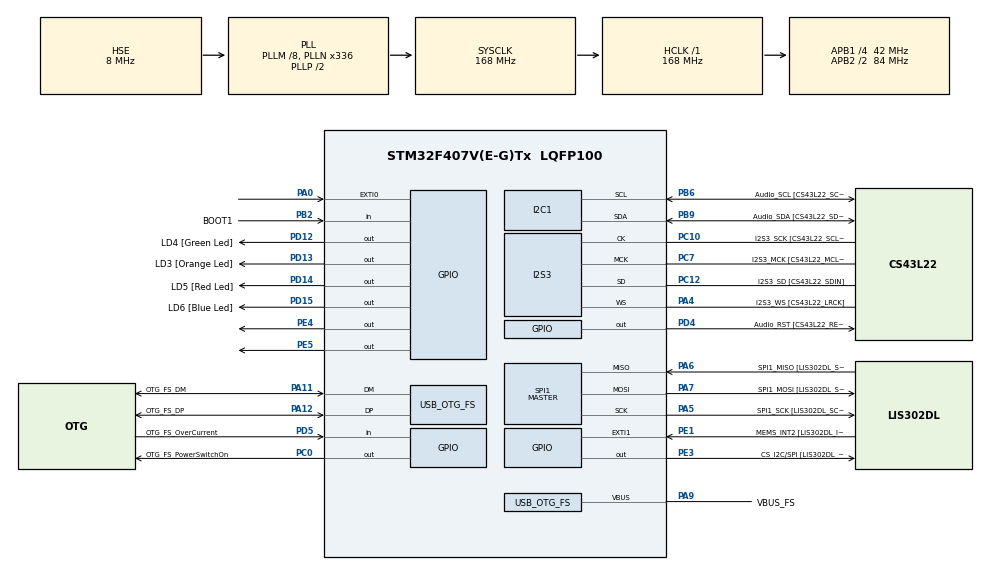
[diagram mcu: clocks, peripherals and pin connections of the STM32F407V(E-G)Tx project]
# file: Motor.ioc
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I2S3.AudioFreq-Half_Duplex_Master=I2S_AUDIOFREQ_96K
I2S3.ErrorAudioFreq=-2.34 %
I2S3.ErrorAudioFreq-Half_Duplex_Master=0.8 %
I2S3.FullDuplexMode=I2S_FULLDUPLEXMODE_DISABLE
I2S3.Instance=SPI$Index
I2S3.RealAudioFreq=93.75 KHz
I2S3.RealAudioFreq-Half_Duplex_Master=96.774 KHz
I2S3.VirtualMode=I2S_MODE_MASTER
Mcu.Family=STM32F4
Mcu.Name=STM32F407V(E-G)Tx
Mcu.Package=LQFP100
NVIC.EXTI0_IRQn=true\:0\:0\:false\:false\:true\:true\:true\:true
NVIC.OTG_FS_IRQn=true\:0\:0\:false\:false\:true\:true\:true\:true
NVIC.PriorityGroup=NVIC_PRIORITYGROUP_0
PA0-WKUP.Signal=GPXTI0
PA10.GPIO_Label=OTG_FS_ID
PA10.GPIO_Mode=GPIO_MODE_AF_PP
PA10.GPIO_PuPd=GPIO_NOPULL
PA10.GPIO_Speed=GPIO_SPEED_FREQ_LOW
PA10.Signal=USB_OTG_FS_ID
PA11.GPIO_Label=OTG_FS_DM
PA11.GPIO_Mode=GPIO_MODE_AF_PP
PA11.GPIO_PuPd=GPIO_NOPULL
PA11.GPIO_Speed=GPIO_SPEED_FREQ_LOW
PA11.Mode=Host_Only
PA11.Signal=USB_OTG_FS_DM
PA12.GPIO_Label=OTG_FS_DP
PA12.GPIO_Mode=GPIO_MODE_AF_PP
PA12.GPIO_PuPd=GPIO_NOPULL
PA12.GPIO_Speed=GPIO_SPEED_FREQ_LOW
PA12.Mode=Host_Only
PA12.Signal=USB_OTG_FS_DP
PA13.GPIO_Label=SWDIO
PA13.Mode=Serial_Wire
PA13.Signal=SYS_JTMS-SWDIO
PA14.GPIO_Label=SWCLK
PA14.Mode=Serial_Wire
PA14.Signal=SYS_JTCK-SWCLK
PA4.GPIO_Label=I2S3_WS [CS43L22_LRCK]
PA4.GPIO_Mode=GPIO_MODE_AF_PP
PA4.GPIO_PuPd=GPIO_NOPULL
PA4.GPIO_Speed=GPIO_SPEED_FREQ_LOW
PA4.Mode=Half_Duplex_Master
PA4.Signal=I2S3_WS
PA5.GPIO_Label=SPI1_SCK [LIS302DL_SCL/SPC]
PA5.GPIO_Mode=GPIO_MODE_AF_PP
PA5.GPIO_PuPd=GPIO_NOPULL
PA5.GPIO_Speed=GPIO_SPEED_FREQ_LOW
PA5.Mode=Full_Duplex_Master
PA5.Signal=SPI1_SCK
PA6.GPIO_Label=SPI1_MISO [LIS302DL_SDO]
PA6.GPIO_Mode=GPIO_MODE_AF_PP
PA6.GPIO_PuPd=GPIO_NOPULL
PA6.GPIO_Speed=GPIO_SPEED_FREQ_LOW
PA6.Mode=Full_Duplex_Master
PA6.Signal=SPI1_MISO
PA7.GPIO_Label=SPI1_MOSI [LIS302DL_SDA/SDI/SDO]
PA7.GPIO_Mode=GPIO_MODE_AF_PP
PA7.GPIO_PuPd=GPIO_NOPULL
PA7.GPIO_Speed=GPIO_SPEED_FREQ_LOW
PA7.Mode=Full_Duplex_Master
PA7.Signal=SPI1_MOSI
PA9.GPIO_Label=VBUS_FS
PA9.GPIO_Mode=GPIO_MODE_INPUT
PA9.GPIO_PuPd=GPIO_NOPULL
PA9.Mode=Activate_VBUS
PA9.Signal=USB_OTG_FS_VBUS
PB10.GPIO_Label=CLK_IN [MP45DT02_CLK]
PB10.GPIO_Mode=GPIO_MODE_AF_PP
PB10.GPIO_PuPd=GPIO_NOPULL
PB10.GPIO_Speed=GPIO_SPEED_FREQ_LOW
PB10.Signal=I2S2_CK
PB2.GPIO_Label=BOOT1
PB2.GPIO_Mode=GPIO_MODE_INPUT
PB2.GPIO_PuPd=GPIO_NOPULL
PB2.Signal=GPIO_Input
PB3.GPIO_Label=SWO
PB3.Signal=SYS_JTDO-SWO
PB6.GPIO_Label=Audio_SCL [CS43L22_SCL]
PB6.GPIO_Mode=GPIO_MODE_AF_OD
PB6.GPIO_Pu=GPIO_PULLUP
PB6.GPIO_PuPd=GPIO_NOPULL
PB6.GPIO_Speed=GPIO_SPEED_FREQ_LOW
PB6.Mode=I2C
PB6.Signal=I2C1_SCL
PB9.GPIO_Label=Audio_SDA [CS43L22_SDA]
PB9.GPIO_Mode=GPIO_MODE_AF_OD
PB9.GPIO_Pu=GPIO_PULLUP
PB9.GPIO_PuPd=GPIO_NOPULL
PB9.GPIO_Speed=GPIO_SPEED_FREQ_LOW
PB9.Mode=I2C
PB9.Signal=I2C1_SDA
PC0.GPIO_Label=OTG_FS_PowerSwitchOn
PC0.GPIO_PuPd=GPIO_NOPULL
PC0.GPIO_Speed=GPIO_SPEED_FREQ_LOW
PC0.PinState=GPIO_PIN_SET
PC0.Signal=GPIO_Output
PC10.GPIO_Label=I2S3_SCK [CS43L22_SCLK]
PC10.GPIO_Mode=GPIO_MODE_AF_PP
PC10.GPIO_PuPd=GPIO_NOPULL
PC10.GPIO_Speed=GPIO_SPEED_FREQ_LOW
PC10.Mode=Half_Duplex_Master
PC10.Signal=I2S3_CK
PC12.GPIO_Label=I2S3_SD [CS43L22_SDIN]
PC12.GPIO_Mode=GPIO_MODE_AF_PP
PC12.GPIO_PuPd=GPIO_NOPULL
PC12.GPIO_Speed=GPIO_SPEED_FREQ_LOW
PC12.Mode=Half_Duplex_Master
PC12.Signal=I2S3_SD
PC14-OSC32_IN.GPIO_Label=PC14-OSC32_IN
PC14-OSC32_IN.Mode=LSE-External-Oscillator
PC14-OSC32_IN.Signal=RCC_OSC32_IN
PC15-OSC32_OUT.GPIO_Label=PC15-OSC32_OUT
PC15-OSC32_OUT.Mode=LSE-External-Oscillator
PC15-OSC32_OUT.Signal=RCC_OSC32_OUT
PC3.GPIO_Label=PDM_OUT [MP45DT02_DOUT]
PC3.GPIO_Mode=GPIO_MODE_AF_PP
PC3.GPIO_PuPd=GPIO_NOPULL
PC3.GPIO_Speed=GPIO_SPEED_FREQ_LOW
PC3.Signal=I2S2_SD
PC7.GPIO_Label=I2S3_MCK [CS43L22_MCLK]
PC7.GPIO_Mode=GPIO_MODE_AF_PP
PC7.GPIO_PuPd=GPIO_NOPULL
PC7.GPIO_Speed=GPIO_SPEED_FREQ_LOW
PC7.Mode=Master_Clock_Activated
PC7.Signal=I2S3_MCK
PD12.GPIO_Label=LD4 [Green Led]
PD12.GPIO_PuPd=GPIO_NOPULL
PD12.GPIO_Speed=GPIO_SPEED_FREQ_LOW
PD12.Signal=GPIO_Output
PD13.GPIO_Label=LD3 [Orange Led]
PD13.GPIO_PuPd=GPIO_NOPULL
PD13.GPIO_Speed=GPIO_SPEED_FREQ_LOW
PD13.Signal=GPIO_Output
PD14.GPIO_Label=LD5 [Red Led]
PD14.GPIO_PuPd=GPIO_NOPULL
PD14.GPIO_Speed=GPIO_SPEED_FREQ_LOW
PD14.Signal=GPIO_Output
PD15.GPIO_Label=LD6 [Blue Led]
PD15.GPIO_PuPd=GPIO_NOPULL
PD15.GPIO_Speed=GPIO_SPEED_FREQ_LOW
PD15.Signal=GPIO_Output
PD4.GPIO_Label=Audio_RST [CS43L22_RESET]
PD4.GPIO_PuPd=GPIO_NOPULL
PD4.GPIO_Speed=GPIO_SPEED_FREQ_LOW
PD4.Signal=GPIO_Output
PD5.GPIO_Label=OTG_FS_OverCurrent
PD5.GPIO_Mode=GPIO_MODE_INPUT
PD5.GPIO_PuPd=GPIO_NOPULL
PD5.Signal=GPIO_Input
PE1.GPIO_Label=MEMS_INT2 [LIS302DL_INT2]
PE1.GPIO_ModeDefaultEXTI=GPIO_MODE_EVT_RISING
PE1.GPIO_PuPd=GPIO_NOPULL
PE1.Signal=GPXTI1
PE3.GPIO_Label=CS_I2C/SPI [LIS302DL_CS_I2C/SPI]
PE3.GPIO_PuPd=GPIO_NOPULL
PE3.GPIO_Speed=GPIO_SPEED_FREQ_LOW
PE3.Signal=GPIO_Output
PE4.GPIO_PuPd=GPIO_PULLUP
PE4.Signal=GPIO_Output
PE5.GPIO_PuPd=GPIO_PULLUP
PE5.Signal=GPIO_Output
PH0-OSC_IN.GPIO_Label=PH0-OSC_IN
PH0-OSC_IN.Mode=HSE-External-Oscillator
PH0-OSC_IN.Signal=RCC_OSC_IN
PH1-OSC_OUT.GPIO_Label=PH1-OSC_OUT
PH1-OSC_OUT.Mode=HSE-External-Oscillator
PH1-OSC_OUT.Signal=RCC_OSC_OUT
ProjectManager.HeapSize=0x200
ProjectManager.StackSize=0x400
ProjectManager.TargetToolchain=STM32CubeIDE
RCC.48MHZClocksFreq_Value=48000000
RCC.AHBFreq_Value=168000000
RCC.APB1CLKDivider=RCC_HCLK_DIV4
RCC.APB1Freq_Value=42000000
RCC.APB1TimFreq_Value=84000000
RCC.APB2CLKDivider=RCC_HCLK_DIV2
RCC.APB2Freq_Value=84000000
RCC.APB2TimFreq_Value=168000000
RCC.CortexFreq_Value=168000000
RCC.HCLKFreq_Value=168000000
RCC.HSE_VALUE=8000000
RCC.HSI_VALUE=16000000
RCC.PLLM=8
RCC.PLLN=336
RCC.PLLQ=7
RCC.SYSCLKFreq_VALUE=168000000
RCC.SYSCLKSource=RCC_SYSCLKSOURCE_PLLCLK
RCC.VCOOutputFreq_Value=336000000
SPI1.BaudRatePrescaler-Full_Duplex_Master=SPI_BAUDRATEPRESCALER_2
SPI1.CalculateBaudRate-Full_Duplex_Master=42.0 MBits/s
SPI1.Direction=SPI_DIRECTION_2LINES
SPI1.Mode=SPI_MODE_MASTER
SPI1.Mode-Full_Duplex_Master=SPI_MODE_MASTER
SPI1.VirtualType=VM_MASTER
USB_HOST.BSP.number=1
USB_HOST.USBH_HandleTypeDef-CDC_FS=hUsbHostFS
USB_HOST.VirtualModeFS=Cdc
USB_HOST0.BSP.STBoard=false
USB_HOST0.BSP.api=Unknown
USB_HOST0.BSP.instance=PC0
USB_HOST0.BSP.ip=GPIO
USB_HOST0.BSP.mode=Output
USB_HOST0.BSP.name=Drive_VBUS_FS
USB_HOST0.BSP.solution=PC0
USB_OTG_FS.VirtualMode=Host_Only
USB_OTG_FS.phy_itface=HCD_PHY_EMBEDDED
VP_USB_HOST_VS_USB_HOST_CDC_FS.Mode=CDC_FS
board=STM32F407G-DISC1

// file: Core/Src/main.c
/* USER CODE BEGIN Header */
/**
  ******************************************************************************
  * @file           : main.c
  * @brief          : Main program body
  ******************************************************************************
  * @attention
  *
  * Copyright (c) 2024 STMicroelectronics.
  * All rights reserved.
  *
  * This software is licensed under terms that can be found in the LICENSE file
  * in the root directory of this software component.
  * If no LICENSE file comes with this software, it is provided AS-IS.
  *
  ******************************************************************************
  */
/* USER CODE END Header */
#include "main.h"
#include "usb_host.h"

/* USER CODE BEGIN PM */
#define OFF 0
#define CLOCKWISE 1
#define ANTI_CLOCKWISE 2
/* USER CODE END PM */

I2C_HandleTypeDef hi2c1;

I2S_HandleTypeDef hi2s3;

SPI_HandleTypeDef hspi1;

void SystemClock_Config(void);
static void MX_GPIO_Init(void);
static void MX_I2C1_Init(void);
static void MX_I2S3_Init(void);
static void MX_SPI1_Init(void);
void MX_USB_HOST_Process(void);

/* USER CODE BEGIN 0 */
int state = OFF;
/* USER CODE END 0 */

int main(void)
{

  /* MCU Configuration--------------------------------------------------------*/

  /* Reset of all peripherals, Initializes the Flash interface and the Systick. */
  HAL_Init();

  /* Configure the system clock */
  SystemClock_Config();

  /* Initialize all configured peripherals */
  MX_GPIO_Init();
  MX_I2C1_Init();
  MX_I2S3_Init();
  MX_SPI1_Init();
  MX_USB_HOST_Init();

  /* Infinite loop */
  /* USER CODE BEGIN WHILE */
  while (1)
  {
	  if (state == OFF){
		  HAL_GPIO_WritePin(GPIOE, GPIO_PIN_4, 0);
		  HAL_GPIO_WritePin(GPIOE, GPIO_PIN_5, 0);
		  HAL_GPIO_WritePin(GPIOD, GPIO_PIN_14, 1);
		  HAL_GPIO_WritePin(GPIOD, GPIO_PIN_15, 0);
		  HAL_GPIO_WritePin(GPIOD, GPIO_PIN_12, 0);
	  }
	  else if (state == CLOCKWISE){
		  HAL_GPIO_WritePin(GPIOE, GPIO_PIN_4, 0);
		  HAL_GPIO_WritePin(GPIOE, GPIO_PIN_5, 1);
		  HAL_GPIO_WritePin(GPIOD, GPIO_PIN_14, 0);
		  HAL_GPIO_WritePin(GPIOD, GPIO_PIN_15, 0);
		  HAL_GPIO_WritePin(GPIOD, GPIO_PIN_12, 1);
	  }
	  else if (state == ANTI_CLOCKWISE){
		  HAL_GPIO_WritePin(GPIOE, GPIO_PIN_4, 1);
		  HAL_GPIO_WritePin(GPIOE, GPIO_PIN_5, 0);
		  HAL_GPIO_WritePin(GPIOD, GPIO_PIN_14, 0);
		  HAL_GPIO_WritePin(GPIOD, GPIO_PIN_15, 1);
		  HAL_GPIO_WritePin(GPIOD, GPIO_PIN_12, 0);
	  }
    /* USER CODE END WHILE */
    MX_USB_HOST_Process();

  }
}

void SystemClock_Config(void)
{
  RCC_OscInitTypeDef RCC_OscInitStruct = {0};
  RCC_ClkInitTypeDef RCC_ClkInitStruct = {0};

  /** Configure the main internal regulator output voltage
  */
  __HAL_RCC_PWR_CLK_ENABLE();
  __HAL_PWR_VOLTAGESCALING_CONFIG(PWR_REGULATOR_VOLTAGE_SCALE1);

  /** Initializes the RCC Oscillators according to the specified parameters
  * in the RCC_OscInitTypeDef structure.
  */
  RCC_OscInitStruct.OscillatorType = RCC_OSCILLATORTYPE_HSE;
  RCC_OscInitStruct.HSEState = RCC_HSE_ON;
  RCC_OscInitStruct.PLL.PLLState = RCC_PLL_ON;
  RCC_OscInitStruct.PLL.PLLSource = RCC_PLLSOURCE_HSE;
  RCC_OscInitStruct.PLL.PLLM = 8;
  RCC_OscInitStruct.PLL.PLLN = 336;
  RCC_OscInitStruct.PLL.PLLP = RCC_PLLP_DIV2;
  RCC_OscInitStruct.PLL.PLLQ = 7;
  if (HAL_RCC_OscConfig(&RCC_OscInitStruct) != HAL_OK)
  {
    Error_Handler();
  }

  /** Initializes the CPU, AHB and APB buses clocks
  */
  RCC_ClkInitStruct.ClockType = RCC_CLOCKTYPE_HCLK|RCC_CLOCKTYPE_SYSCLK
                              |RCC_CLOCKTYPE_PCLK1|RCC_CLOCKTYPE_PCLK2;
  RCC_ClkInitStruct.SYSCLKSource = RCC_SYSCLKSOURCE_PLLCLK;
  RCC_ClkInitStruct.AHBCLKDivider = RCC_SYSCLK_DIV1;
  RCC_ClkInitStruct.APB1CLKDivider = RCC_HCLK_DIV4;
  RCC_ClkInitStruct.APB2CLKDivider = RCC_HCLK_DIV2;

  if (HAL_RCC_ClockConfig(&RCC_ClkInitStruct, FLASH_LATENCY_5) != HAL_OK)
  {
    Error_Handler();
  }
}

static void MX_I2C1_Init(void)
{

  hi2c1.Instance = I2C1;
  hi2c1.Init.ClockSpeed = 100000;
  hi2c1.Init.DutyCycle = I2C_DUTYCYCLE_2;
  hi2c1.Init.OwnAddress1 = 0;
  hi2c1.Init.AddressingMode = I2C_ADDRESSINGMODE_7BIT;
  hi2c1.Init.DualAddressMode = I2C_DUALADDRESS_DISABLE;
  hi2c1.Init.OwnAddress2 = 0;
  hi2c1.Init.GeneralCallMode = I2C_GENERALCALL_DISABLE;
  hi2c1.Init.NoStretchMode = I2C_NOSTRETCH_DISABLE;
  if (HAL_I2C_Init(&hi2c1) != HAL_OK)
  {
    Error_Handler();
  }

}

static void MX_I2S3_Init(void)
{

  hi2s3.Instance = SPI3;
  hi2s3.Init.Mode = I2S_MODE_MASTER_TX;
  hi2s3.Init.Standard = I2S_STANDARD_PHILIPS;
  hi2s3.Init.DataFormat = I2S_DATAFORMAT_16B;
  hi2s3.Init.MCLKOutput = I2S_MCLKOUTPUT_ENABLE;
  hi2s3.Init.AudioFreq = I2S_AUDIOFREQ_96K;
  hi2s3.Init.CPOL = I2S_CPOL_LOW;
  hi2s3.Init.ClockSource = I2S_CLOCK_PLL;
  hi2s3.Init.FullDuplexMode = I2S_FULLDUPLEXMODE_DISABLE;
  if (HAL_I2S_Init(&hi2s3) != HAL_OK)
  {
    Error_Handler();
  }

}

static void MX_SPI1_Init(void)
{

  /* SPI1 parameter configuration*/
  hspi1.Instance = SPI1;
  hspi1.Init.Mode = SPI_MODE_MASTER;
  hspi1.Init.Direction = SPI_DIRECTION_2LINES;
  hspi1.Init.DataSize = SPI_DATASIZE_8BIT;
  hspi1.Init.CLKPolarity = SPI_POLARITY_LOW;
  hspi1.Init.CLKPhase = SPI_PHASE_1EDGE;
  hspi1.Init.NSS = SPI_NSS_SOFT;
  hspi1.Init.BaudRatePrescaler = SPI_BAUDRATEPRESCALER_2;
  hspi1.Init.FirstBit = SPI_FIRSTBIT_MSB;
  hspi1.Init.TIMode = SPI_TIMODE_DISABLE;
  hspi1.Init.CRCCalculation = SPI_CRCCALCULATION_DISABLE;
  hspi1.Init.CRCPolynomial = 10;
  if (HAL_SPI_Init(&hspi1) != HAL_OK)
  {
    Error_Handler();
  }

}

static void MX_GPIO_Init(void)
{
  GPIO_InitTypeDef GPIO_InitStruct = {0};

  /* GPIO Ports Clock Enable */
  __HAL_RCC_GPIOE_CLK_ENABLE();
  __HAL_RCC_GPIOC_CLK_ENABLE();
  __HAL_RCC_GPIOH_CLK_ENABLE();
  __HAL_RCC_GPIOA_CLK_ENABLE();
  __HAL_RCC_GPIOB_CLK_ENABLE();
  __HAL_RCC_GPIOD_CLK_ENABLE();

  /*Configure GPIO pin Output Level */
  HAL_GPIO_WritePin(GPIOE, CS_I2C_SPI_Pin|GPIO_PIN_4|GPIO_PIN_5, GPIO_PIN_RESET);

  /*Configure GPIO pin Output Level */
  HAL_GPIO_WritePin(OTG_FS_PowerSwitchOn_GPIO_Port, OTG_FS_PowerSwitchOn_Pin, GPIO_PIN_SET);

  /*Configure GPIO pin Output Level */
  HAL_GPIO_WritePin(GPIOD, LD4_Pin|LD3_Pin|LD5_Pin|LD6_Pin
                          |Audio_RST_Pin, GPIO_PIN_RESET);

  /*Configure GPIO pin : CS_I2C_SPI_Pin */
  GPIO_InitStruct.Pin = CS_I2C_SPI_Pin;
  GPIO_InitStruct.Mode = GPIO_MODE_OUTPUT_PP;
  GPIO_InitStruct.Pull = GPIO_NOPULL;
  GPIO_InitStruct.Speed = GPIO_SPEED_FREQ_LOW;
  HAL_GPIO_Init(CS_I2C_SPI_GPIO_Port, &GPIO_InitStruct);

  /*Configure GPIO pins : PE4 PE5 */
  GPIO_InitStruct.Pin = GPIO_PIN_4|GPIO_PIN_5;
  GPIO_InitStruct.Mode = GPIO_MODE_OUTPUT_PP;
  GPIO_InitStruct.Pull = GPIO_PULLUP;
  GPIO_InitStruct.Speed = GPIO_SPEED_FREQ_LOW;
  HAL_GPIO_Init(GPIOE, &GPIO_InitStruct);

  /*Configure GPIO pin : OTG_FS_PowerSwitchOn_Pin */
  GPIO_InitStruct.Pin = OTG_FS_PowerSwitchOn_Pin;
  GPIO_InitStruct.Mode = GPIO_MODE_OUTPUT_PP;
  GPIO_InitStruct.Pull = GPIO_NOPULL;
  GPIO_InitStruct.Speed = GPIO_SPEED_FREQ_LOW;
  HAL_GPIO_Init(OTG_FS_PowerSwitchOn_GPIO_Port, &GPIO_InitStruct);

  /*Configure GPIO pin : PDM_OUT_Pin */
  GPIO_InitStruct.Pin = PDM_OUT_Pin;
  GPIO_InitStruct.Mode = GPIO_MODE_AF_PP;
  GPIO_InitStruct.Pull = GPIO_NOPULL;
  GPIO_InitStruct.Speed = GPIO_SPEED_FREQ_LOW;
  GPIO_InitStruct.Alternate = GPIO_AF5_SPI2;
  HAL_GPIO_Init(PDM_OUT_GPIO_Port, &GPIO_InitStruct);

  /*Configure GPIO pin : PA0 */
  GPIO_InitStruct.Pin = GPIO_PIN_0;
  GPIO_InitStruct.Mode = GPIO_MODE_IT_RISING;
  GPIO_InitStruct.Pull = GPIO_NOPULL;
  HAL_GPIO_Init(GPIOA, &GPIO_InitStruct);

  /*Configure GPIO pin : BOOT1_Pin */
  GPIO_InitStruct.Pin = BOOT1_Pin;
  GPIO_InitStruct.Mode = GPIO_MODE_INPUT;
  GPIO_InitStruct.Pull = GPIO_NOPULL;
  HAL_GPIO_Init(BOOT1_GPIO_Port, &GPIO_InitStruct);

  /*Configure GPIO pin : CLK_IN_Pin */
  GPIO_InitStruct.Pin = CLK_IN_Pin;
  GPIO_InitStruct.Mode = GPIO_MODE_AF_PP;
  GPIO_InitStruct.Pull = GPIO_NOPULL;
  GPIO_InitStruct.Speed = GPIO_SPEED_FREQ_LOW;
  GPIO_InitStruct.Alternate = GPIO_AF5_SPI2;
  HAL_GPIO_Init(CLK_IN_GPIO_Port, &GPIO_InitStruct);

  /*Configure GPIO pins : LD4_Pin LD3_Pin LD5_Pin LD6_Pin
                           Audio_RST_Pin */
  GPIO_InitStruct.Pin = LD4_Pin|LD3_Pin|LD5_Pin|LD6_Pin
                          |Audio_RST_Pin;
  GPIO_InitStruct.Mode = GPIO_MODE_OUTPUT_PP;
  GPIO_InitStruct.Pull = GPIO_NOPULL;
  GPIO_InitStruct.Speed = GPIO_SPEED_FREQ_LOW;
  HAL_GPIO_Init(GPIOD, &GPIO_InitStruct);

  /*Configure GPIO pin : OTG_FS_OverCurrent_Pin */
  GPIO_InitStruct.Pin = OTG_FS_OverCurrent_Pin;
  GPIO_InitStruct.Mode = GPIO_MODE_INPUT;
  GPIO_InitStruct.Pull = GPIO_NOPULL;
  HAL_GPIO_Init(OTG_FS_OverCurrent_GPIO_Port, &GPIO_InitStruct);

  /*Configure GPIO pin : MEMS_INT2_Pin */
  GPIO_InitStruct.Pin = MEMS_INT2_Pin;
  GPIO_InitStruct.Mode = GPIO_MODE_EVT_RISING;
  GPIO_InitStruct.Pull = GPIO_NOPULL;
  HAL_GPIO_Init(MEMS_INT2_GPIO_Port, &GPIO_InitStruct);

  /* EXTI interrupt init*/
  HAL_NVIC_SetPriority(EXTI0_IRQn, 0, 0);
  HAL_NVIC_EnableIRQ(EXTI0_IRQn);

}

/* USER CODE BEGIN 4 */

void HAL_GPIO_EXTI_Callback(uint16_t GPIO_Pin){
	if (GPIO_Pin==GPIO_PIN_0){
		if (state == ANTI_CLOCKWISE){
			state = OFF;
		}
		else
			state++;
	}
}
/* USER CODE END 4 */

void Error_Handler(void)
{
  __disable_irq();
  while (1)
  {
  }
}
